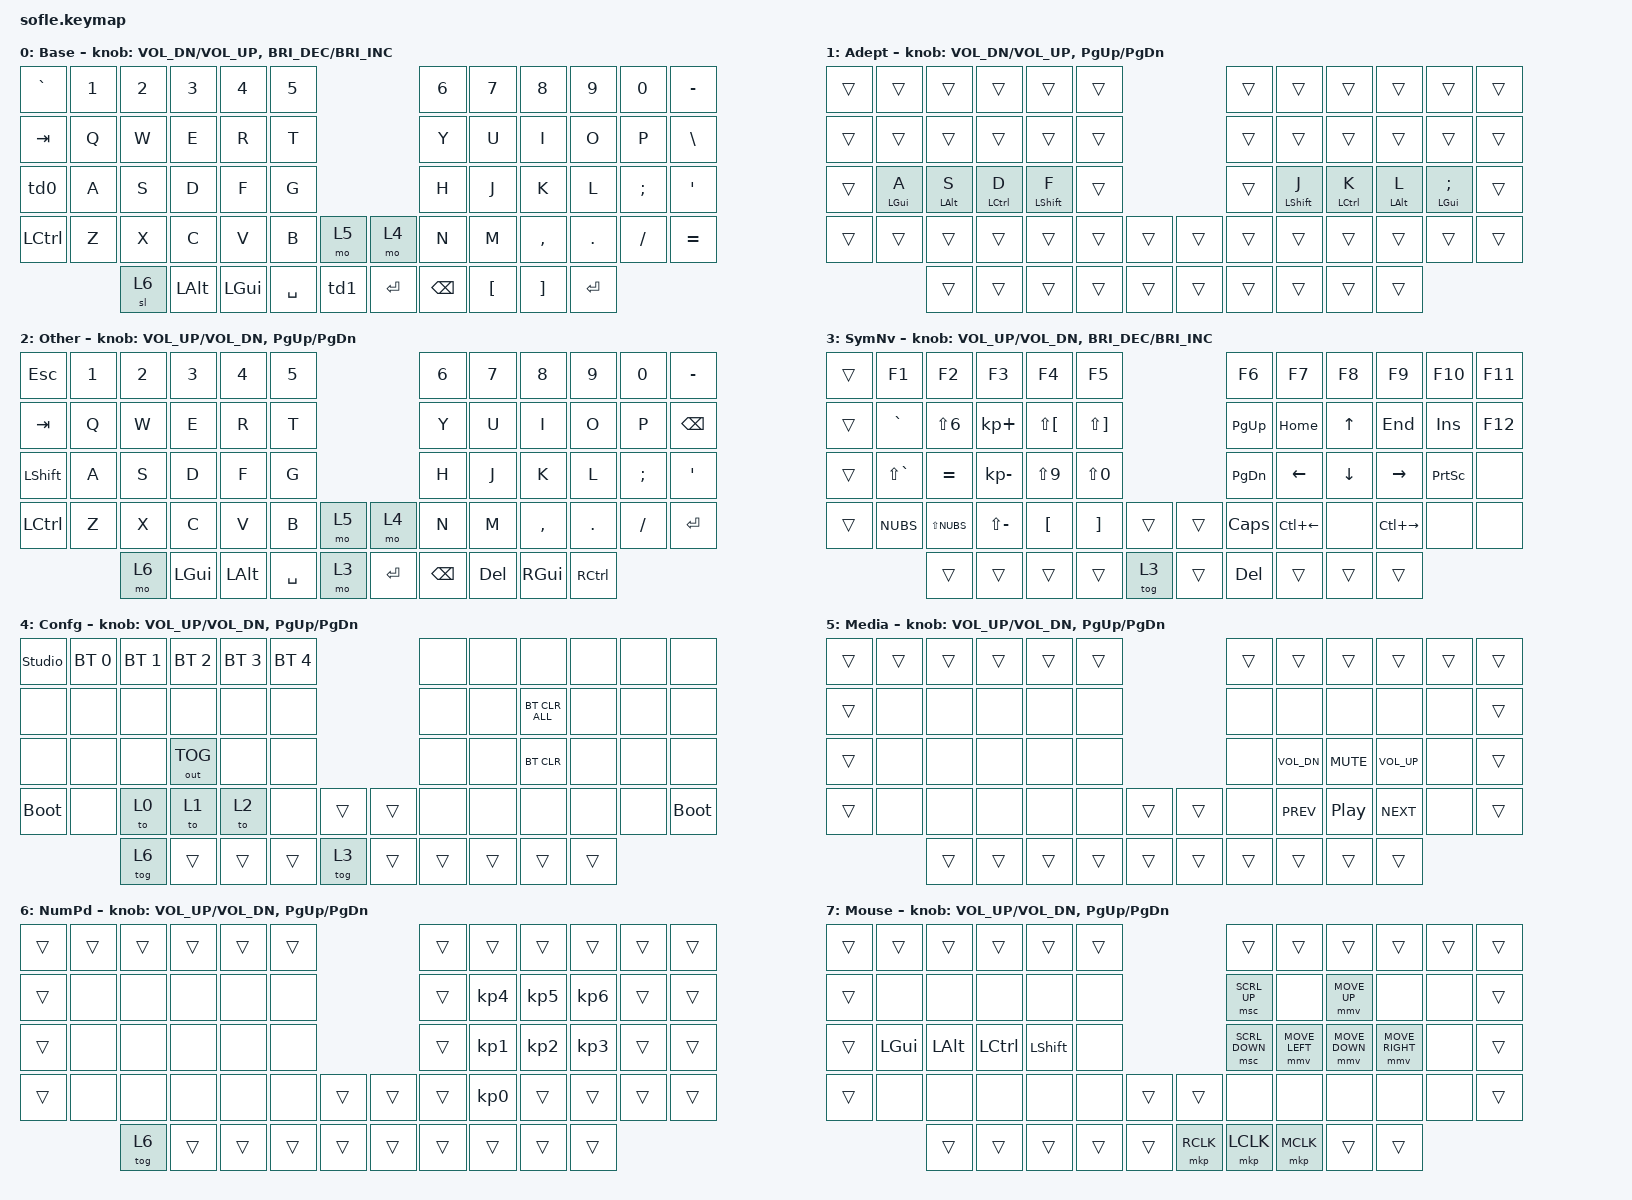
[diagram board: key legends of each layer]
/*
 * Copyright (c) 2020 The ZMK Contributors
 *
 * SPDX-License-Identifier: MIT
 */

#include <behaviors.dtsi>
#include <dt-bindings/zmk/bt.h>
#include <dt-bindings/zmk/keys.h>
#include <dt-bindings/zmk/outputs.h>
#include <dt-bindings/zmk/pointing.h>

// Enumera as camadas do teclado

#define BASE 0
#define ADEPT 1
#define OTHER 2
#define SYMB_NAV 3
#define ADJUST 4
#define MEDIA 5
#define NUMPAD 6
#define MOUSE 7

// ABNT2 keycodes
// Mapeamento de teclas ABNT2 que são usados para o layout brasileiro
// Inspired by https://github.com/qmk/qmk_firmware/blob/master/quantum/keymap_extras/keymap_brazilian_abnt2.h

#define BR_SLSH INT1
#define BR_ACUT LBKT
#define BR_RBKT NUHS
#define BR_RBCT LS(NUHS)
#define BR_LBKT RBKT
#define BR_LBCT LS(RBKT)

// Abaixo, há especificações do comportamento do tap-hold para teclas com duplo comportamento
// Para mais detalhes: https://zmk.dev/docs/keymaps/behaviors/hold-tap

#define TAPPING_TERM 300 // Tempo em milissegundos para diferenciar o tap-hold

// Para teclas com tap-hold em que o hold é um modificador, como CTRL, ALT, etc

&mt {
    flavor = "balanced";
    tapping-term-ms = <200>;
    quick-tap-ms = <200>;
    require-prior-idle-ms = <200>;
};

// Para teclas com tap-hold em que o hold é uma mudança de camada, como SYMB_NAV, MEDIA, etc

&lt {
    flavor = "balanced";
    tapping-term-ms = <200>;
    quick-tap-ms = <200>;
};

// Combos do teclado

/ {
    combos {
        compatible = "zmk,combos";

        combo_dongle_bootloader {
            // Faz o dongle entrar em modo de bootloader, para gravacao do firmware

            timeout-ms = <30>; // Tempo de tolerancia para apertar as teclas ao mesmo tempo
            key-positions = <50 51 58 59>; // 2 primeiras e 2 ultimas teclas da linha de teclas mais abaixo do teclado
            bindings = <&bootloader>; // Tecla a ser simulada ao apertar a combinação acima
        };

        combo_unlock_zmk_studio {
            // Desbloqueia o ZMK Studio

            timeout-ms = <30>; // Tempo de tolerancia para apertar as teclas ao mesmo tempo
            key-positions = <50 59>; // primeira e última teclas da linha de teclas mais abaixo do teclado
            bindings = <&studio_unlock>; // Tecla a ser simulada ao apertar a combinação acima
        };

        combo_scape {
            bindings = <&kp ESC>;
            key-positions = <0 12>;
        };
    };
};

// Mapeamento de teclas e camadas do teclado

/ {
    behaviors {
        td0: td0_shift_capslock {
            compatible = "zmk,behavior-tap-dance";
            label = "TD0_shift_capslock";
            #binding-cells = <0>;
            bindings = <&kp LEFT_SHIFT>, <&kp CLCK>;
        };

        td1: td1_sym_toggle {
            compatible = "zmk,behavior-tap-dance";
            label = "TD1_sym_toggle";
            #binding-cells = <0>;
            bindings = <&sl 3>, <&tog 3>;
        };
    };

    keymap {
        compatible = "zmk,keymap";

        // Uma cópia genérica do template de camada, que pode ser usada para criar novas camadas
        //        name_layer {
        //            display-name = "name";
        //            bindings = <
        //&trans    &trans    &trans    &trans      &trans    &trans                        &trans    &trans   &trans    &trans    &trans   &trans
        //&trans    &none     &none     &none       &none     &none                         &none     &none    &none     &none     &none    &trans
        //&trans    &none     &none     &none       &none     &none                         &none     &none    &none     &none     &none    &trans
        //&trans    &none     &none     &none       &none     &none      &trans    &trans   &none     &none    &none     &none     &none    &trans
        //                    &trans    &trans      &trans    &trans     &trans    &trans   &trans    &trans   &trans    &trans
        //            >;
        //
        //            sensor-bindings = <&inc_dec_kp C_VOL_UP C_VOL_DN &inc_dec_kp PG_UP PG_DN>; // Para o knob (encoder)
        //        };

        base_layer {
            display-name = "Base";
            bindings = <
&kp GRAVE  &kp N1  &kp N2  &kp N3        &kp N4        &kp N5                          &kp N6    &kp N7            &kp N8             &kp N9     &kp N0    &kp MINUS
&kp TAB    &kp Q   &kp W   &kp E         &kp R         &kp T                           &kp Y     &kp U             &kp I              &kp O      &kp P     &kp BSLH
&td0       &kp A   &kp S   &kp D         &kp F         &kp G                           &kp H     &kp J             &kp K              &kp L      &kp SEMI  &kp SQT
&kp LCTRL  &kp Z   &kp X   &kp C         &kp V         &kp B      &mo 5    &mo 4       &kp N     &kp M             &kp COMMA          &kp DOT    &kp FSLH  &kp EQUAL
                   &sl 6   &kp LEFT_ALT  &kp LEFT_GUI  &kp SPACE  &td1     &kp RETURN  &kp BSPC  &kp LEFT_BRACKET  &kp RIGHT_BRACKET  &kp ENTER
            >;

            sensor-bindings =
                <&inc_dec_kp C_VOL_DN C_VOL_UP>,
                <&inc_dec_kp C_BRI_DEC C_BRI_INC>;
        };

        adept_layer {
            display-name = "Adept";
            bindings = <
&trans  &trans      &trans      &trans       &trans       &trans                    &trans  &trans       &trans       &trans      &trans         &trans
&trans  &trans      &trans      &trans       &trans       &trans                    &trans  &trans       &trans       &trans      &trans         &trans
&trans  &mt LGUI A  &mt LALT S  &mt LCTRL D  &mt LSHFT F  &trans                    &trans  &mt LSHFT J  &mt LCTRL K  &mt LALT L  &mt LGUI SEMI  &trans
&trans  &trans      &trans      &trans       &trans       &trans  &trans    &trans  &trans  &trans       &trans       &trans      &trans         &trans
                    &trans      &trans       &trans       &trans  &trans    &trans  &trans  &trans       &trans       &trans
            >;

            sensor-bindings =
                <&inc_dec_kp C_VOL_DN C_VOL_UP>,
                <&inc_dec_kp PG_UP PG_DN>;
        };

        // By defaults its equal to base_layer. To be customized by user.

        other_layer {
            display-name = "Other";
            bindings = <
&kp ESC    &kp N1  &kp N2  &kp N3    &kp N4    &kp N5                         &kp N6    &kp N7   &kp N8     &kp N9     &kp N0    &kp MINUS
&kp TAB    &kp Q   &kp W   &kp E     &kp R     &kp T                          &kp Y     &kp U    &kp I      &kp O      &kp P     &kp BSPC
&kp LSHFT  &kp A   &kp S   &kp D     &kp F     &kp G                          &kp H     &kp J    &kp K      &kp L      &kp SEMI  &kp SQT
&kp LCTRL  &kp Z   &kp X   &kp C     &kp V     &kp B      &mo 5    &mo 4      &kp N     &kp M    &kp COMMA  &kp DOT    &kp FSLH  &kp ENTER
                   &mo 6   &kp LGUI  &kp LALT  &kp SPACE  &mo 3    &kp ENTER  &kp BSPC  &kp DEL  &kp RGUI   &kp RCTRL
            >;

            sensor-bindings = <&inc_dec_kp C_VOL_UP C_VOL_DN &inc_dec_kp PG_UP PG_DN>;
        };

        symb_nav_layer {
            display-name = "SymNv";
            bindings = <
&trans  &kp F1         &kp F2        &kp F3         &kp F4        &kp F5                          &kp F6      &kp F7        &kp F8    &kp F9         &kp F10    &kp F11
&trans  &kp GRAVE      &kp LS(N6)    &kp KP_PLUS    &kp LS(LBKT)  &kp LS(RBKT)                    &kp PG_UP   &kp HOME      &kp UP    &kp END        &kp INS    &kp F12
&trans  &kp LS(GRAVE)  &kp EQUAL     &kp KP_MINUS   &kp LS(N9)    &kp LS(N0)                      &kp PG_DN   &kp LEFT      &kp DOWN  &kp RIGHT      &kp PSCRN  &none
&trans  &kp NUBS       &kp LS(NUBS)  &kp LS(MINUS)  &kp LBKT      &kp RBKT      &trans    &trans  &kp CAPS    &kp LC(LEFT)  &none     &kp LC(RIGHT)  &none      &none
                       &trans        &trans         &trans        &trans        &tog 3    &trans  &kp DELETE  &trans        &trans    &trans
            >;

            sensor-bindings =
                <&inc_dec_kp C_VOL_UP C_VOL_DN>,
                <&inc_dec_kp C_BRIGHTNESS_DEC C_BRIGHTNESS_INC>;
        };

        adjust_layer {
            display-name = "Confg";
            bindings = <
&studio_unlock  &bt BT_SEL 0  &bt BT_SEL 1  &bt BT_SEL 2  &bt BT_SEL 3  &bt BT_SEL 4                    &none   &none   &none           &none   &none  &none
&none           &none         &none         &none         &none         &none                           &none   &none   &bt BT_CLR_ALL  &none   &none  &none
&none           &none         &none         &out OUT_TOG  &none         &none                           &none   &none   &bt BT_CLR      &none   &none  &none
&bootloader     &none         &to 0         &to 1         &to 2         &none         &trans    &trans  &none   &none   &none           &none   &none  &bootloader
                              &tog 6        &trans        &trans        &trans        &tog 3    &trans  &trans  &trans  &trans          &trans
            >;

            sensor-bindings = <&inc_dec_kp C_VOL_UP C_VOL_DN &inc_dec_kp PG_UP PG_DN>;
        };

        media_layer {
            display-name = "Media";
            bindings = <
&trans  &trans  &trans  &trans  &trans  &trans                    &trans  &trans        &trans      &trans        &trans  &trans
&trans  &none   &none   &none   &none   &none                     &none   &none         &none       &none         &none   &trans
&trans  &none   &none   &none   &none   &none                     &none   &kp C_VOL_DN  &kp C_MUTE  &kp C_VOL_UP  &none   &trans
&trans  &none   &none   &none   &none   &none   &trans    &trans  &none   &kp C_PREV    &kp C_PP    &kp C_NEXT    &none   &trans
                &trans  &trans  &trans  &trans  &trans    &trans  &trans  &trans        &trans      &trans
            >;

            sensor-bindings = <&inc_dec_kp C_VOL_UP C_VOL_DN &inc_dec_kp PG_UP PG_DN>;
        };

        numpad_layer {
            display-name = "NumPd";
            bindings = <
&trans  &trans  &trans  &trans  &trans  &trans                    &trans  &trans     &trans     &trans     &trans  &trans
&trans  &none   &none   &none   &none   &none                     &trans  &kp KP_N4  &kp KP_N5  &kp KP_N6  &trans  &trans
&trans  &none   &none   &none   &none   &none                     &trans  &kp KP_N1  &kp KP_N2  &kp KP_N3  &trans  &trans
&trans  &none   &none   &none   &none   &none   &trans    &trans  &trans  &kp KP_N0  &trans     &trans     &trans  &trans
                &tog 6  &trans  &trans  &trans  &trans    &trans  &trans  &trans     &trans     &trans
            >;

            sensor-bindings = <&inc_dec_kp C_VOL_UP C_VOL_DN &inc_dec_kp PG_UP PG_DN>;
            label = "NumPad";
        };

        mouse_layer {
            display-name = "Mouse";
            bindings = <
&trans  &trans    &trans    &trans     &trans     &trans                       &trans          &trans          &trans          &trans           &trans  &trans
&trans  &none     &none     &none      &none      &none                        &msc SCRL_UP    &none           &mmv MOVE_UP    &none            &none   &trans
&trans  &kp LGUI  &kp LALT  &kp LCTRL  &kp LSHFT  &none                        &msc SCRL_DOWN  &mmv MOVE_LEFT  &mmv MOVE_DOWN  &mmv MOVE_RIGHT  &none   &trans
&trans  &none     &none     &none      &none      &none   &trans    &trans     &none           &none           &none           &none            &none   &trans
                  &trans    &trans     &trans     &trans  &trans    &mkp RCLK  &mkp LCLK       &mkp MCLK       &trans          &trans
            >;

            sensor-bindings = <&inc_dec_kp C_VOL_UP C_VOL_DN &inc_dec_kp PG_UP PG_DN>;
        };

        // Extra layers, so it can be added and customized in ZMK Studio

        extra1 { status = "reserved"; };

        extra2 { status = "reserved"; };

        extra3 { status = "reserved"; };

        extra4 { status = "reserved"; };

        extra5 { status = "reserved"; };

        extra6 { status = "reserved"; };

        extra7 { status = "reserved"; };

        extra8 { status = "reserved"; };
    };
};
